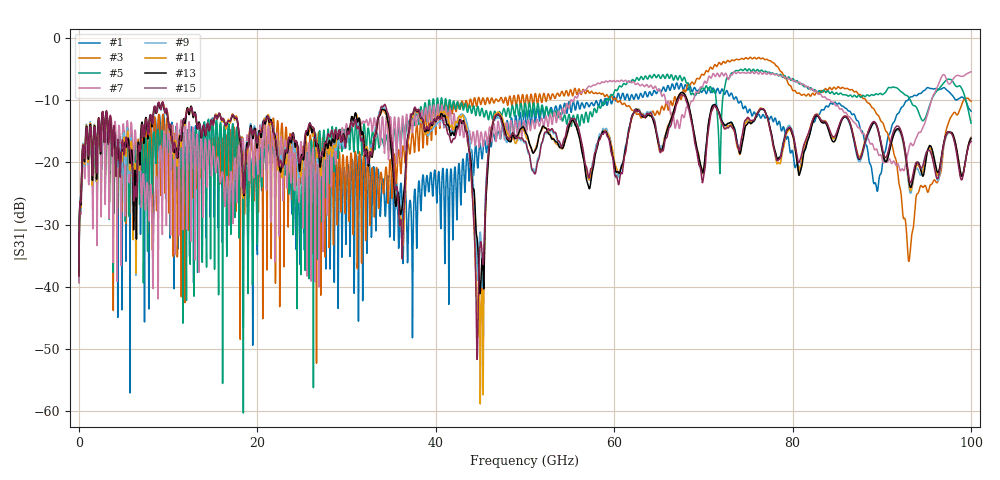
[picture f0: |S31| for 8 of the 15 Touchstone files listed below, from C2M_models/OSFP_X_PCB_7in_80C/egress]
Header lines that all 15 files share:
# GHz S RI R 45
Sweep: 25 MHz to 100 GHz
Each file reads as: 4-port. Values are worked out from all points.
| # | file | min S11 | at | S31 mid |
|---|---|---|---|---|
| 1 | C2M_X_OSFP224_7in_host_PCB_80C_FEXT_TP0_Tx1_to_TP1a_Tx7.s4p | -55.2 dB | 37.6 GHz | -12.0 dB at 50.02 GHz |
| 2 | C2M_X_OSFP224_7in_host_PCB_80C_FEXT_TP0_Tx2_to_TP1a_Tx7.s4p | -51.2 dB | 12.18 GHz | -12.9 dB at 50.02 GHz |
| 3 | C2M_X_OSFP224_7in_host_PCB_80C_FEXT_TP0_Tx3_to_TP1a_Tx7.s4p | -42.3 dB | 30.2 GHz | -10.9 dB at 50.02 GHz |
| 4 | C2M_X_OSFP224_7in_host_PCB_80C_FEXT_TP0_Tx4_to_TP1a_Tx7.s4p | -52.9 dB | 27.6 GHz | -10.4 dB at 50.02 GHz |
| 5 | C2M_X_OSFP224_7in_host_PCB_80C_FEXT_TP0_Tx5_to_TP1a_Tx7.s4p | -41.4 dB | 19.45 GHz | -10.4 dB at 50.02 GHz |
| 6 | C2M_X_OSFP224_7in_host_PCB_80C_FEXT_TP0_Tx6_to_TP1a_Tx7.s4p | -52.2 dB | 15.4 GHz | -11.2 dB at 50.02 GHz |
| 7 | C2M_X_OSFP224_7in_host_PCB_80C_FEXT_TP0_Tx8_to_TP1a_Tx7.s4p | -50.3 dB | 98.65 GHz | -14.4 dB at 50.02 GHz |
| 8 | C2M_X_OSFP224_7in_host_PCB_80C_NEXT_TP1a_Rx1_to_TP1a_Tx7.s4p | -45.5 dB | 8.7 GHz | -15.1 dB at 50.02 GHz |
| 9 | C2M_X_OSFP224_7in_host_PCB_80C_NEXT_TP1a_Rx2_to_TP1a_Tx7.s4p | -46.9 dB | 43.3 GHz | -16.7 dB at 50.02 GHz |
| 10 | C2M_X_OSFP224_7in_host_PCB_80C_NEXT_TP1a_Rx3_to_TP1a_Tx7.s4p | -52.6 dB | 33.88 GHz | -13.5 dB at 50.02 GHz |
| 11 | C2M_X_OSFP224_7in_host_PCB_80C_NEXT_TP1a_Rx4_to_TP1a_Tx7.s4p | -48.4 dB | 6.125 GHz | -15.4 dB at 50.02 GHz |
| 12 | C2M_X_OSFP224_7in_host_PCB_80C_NEXT_TP1a_Rx5_to_TP1a_Tx7.s4p | -66.9 dB | 45.27 GHz | -13.5 dB at 50.02 GHz |
| 13 | C2M_X_OSFP224_7in_host_PCB_80C_NEXT_TP1a_Rx6_to_TP1a_Tx7.s4p | -39.3 dB | 6.45 GHz | -14.9 dB at 50.02 GHz |
| 14 | C2M_X_OSFP224_7in_host_PCB_80C_NEXT_TP1a_Rx7_to_TP1a_Tx7.s4p | -43.7 dB | 34.05 GHz | -14.4 dB at 50.02 GHz |
| 15 | C2M_X_OSFP224_7in_host_PCB_80C_NEXT_TP1a_Rx8_to_TP1a_Tx7.s4p | -40.8 dB | 29.93 GHz | -16.6 dB at 50.02 GHz |
